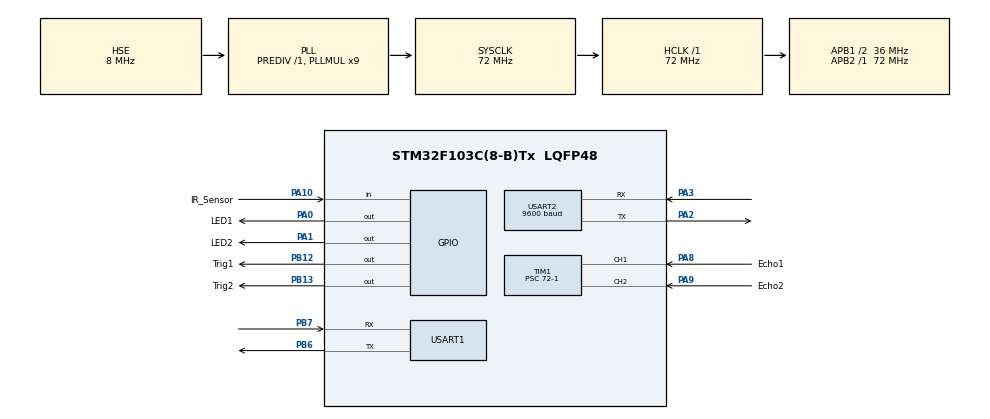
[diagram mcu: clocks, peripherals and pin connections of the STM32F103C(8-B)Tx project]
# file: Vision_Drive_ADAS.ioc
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Mcu.Family=STM32F1
Mcu.Name=STM32F103C(8-B)Tx
Mcu.Package=LQFP48
NVIC.PriorityGroup=NVIC_PRIORITYGROUP_4
NVIC.TIM1_CC_IRQn=true\:0\:0\:false\:false\:true\:true\:true\:true
NVIC.USART1_IRQn=true\:0\:0\:false\:false\:true\:true\:true\:true
PA0-WKUP.GPIO_Label=LED1
PA0-WKUP.GPIO_PuPd=GPIO_PULLDOWN
PA0-WKUP.Signal=GPIO_Output
PA1.GPIO_Label=LED2
PA1.Signal=GPIO_Output
PA10.GPIO_Label=IR_Sensor
PA10.GPIO_PuPd=GPIO_PULLDOWN
PA10.Signal=GPIO_Input
PA13.Mode=Serial_Wire
PA13.Signal=SYS_JTMS-SWDIO
PA14.Mode=Serial_Wire
PA14.Signal=SYS_JTCK-SWCLK
PA2.Mode=Asynchronous
PA2.Signal=USART2_TX
PA3.Mode=Asynchronous
PA3.Signal=USART2_RX
PA8.GPIO_Label=Echo1
PA8.Signal=S_TIM1_CH1
PA9.GPIO_Label=Echo2
PA9.Signal=S_TIM1_CH2
PB12.GPIO_Label=Trig1
PB12.Signal=GPIO_Output
PB13.GPIO_Label=Trig2
PB13.Signal=GPIO_Output
PB6.Mode=Asynchronous
PB6.Signal=USART1_TX
PB7.Mode=Asynchronous
PB7.Signal=USART1_RX
PD0-OSC_IN.Mode=HSE-External-Oscillator
PD0-OSC_IN.Signal=RCC_OSC_IN
PD1-OSC_OUT.Mode=HSE-External-Oscillator
PD1-OSC_OUT.Signal=RCC_OSC_OUT
ProjectManager.HeapSize=0x200
ProjectManager.StackSize=0x400
ProjectManager.TargetToolchain=STM32CubeIDE
RCC.AHBFreq_Value=72000000
RCC.APB1CLKDivider=RCC_HCLK_DIV2
RCC.APB1Freq_Value=36000000
RCC.APB1TimFreq_Value=72000000
RCC.APB2Freq_Value=72000000
RCC.APB2TimFreq_Value=72000000
RCC.HCLKFreq_Value=72000000
RCC.PLLMUL=RCC_PLL_MUL9
RCC.PLLSourceVirtual=RCC_PLLSOURCE_HSE
RCC.SYSCLKFreq_VALUE=72000000
RCC.SYSCLKSource=RCC_SYSCLKSOURCE_PLLCLK
RCC.USBFreq_Value=72000000
SH.S_TIM1_CH1.0=TIM1_CH1,Input_Capture1_from_TI1
SH.S_TIM1_CH2.0=TIM1_CH2,Input_Capture2_from_TI2
TIM1.Channel-Input_Capture1_from_TI1=TIM_CHANNEL_1
TIM1.Channel-Input_Capture2_from_TI2=TIM_CHANNEL_2
TIM1.ICFilter_CH1=4
TIM1.Period=0xffff-1
TIM1.Prescaler=72-1
TIM2.Period=0xffff-1
TIM2.Prescaler=72-1
USART1.VirtualMode=VM_ASYNC
USART2.BaudRate=9600
USART2.VirtualMode=VM_ASYNC
VP_TIM2_VS_ClockSourceINT.Mode=Internal
board=custom

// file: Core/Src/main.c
/* USER CODE BEGIN Header */
/**
  ******************************************************************************
  * @file           : main.c
  * @brief          : Main program body
  ******************************************************************************
  * @attention
  *
  * Copyright (c) 2024 STMicroelectronics.
  * All rights reserved.
  *
  * This software is licensed under terms that can be found in the LICENSE file
  * in the root directory of this software component.
  * If no LICENSE file comes with this software, it is provided AS-IS.
  *
  ******************************************************************************
  */
/* USER CODE END Header */
#include "main.h"

/* USER CODE BEGIN Includes */
#include "ESP_DATA_HANDLER.h"
#include "ultrasonic.h"
/* USER CODE END Includes */

TIM_HandleTypeDef htim1;
TIM_HandleTypeDef htim2;

UART_HandleTypeDef huart1;
UART_HandleTypeDef huart2;

void SystemClock_Config(void);
static void MX_GPIO_Init(void);
static void MX_USART1_UART_Init(void);
static void MX_TIM1_Init(void);
static void MX_TIM2_Init(void);
static void MX_USART2_UART_Init(void);

/* USER CODE BEGIN 0 */
uint8_t Data[1];
void HAL_UARTEx_RxEventCallback(UART_HandleTypeDef* huart, uint16_t Size){
	if (huart->Instance == USART1){
		HAL_UART_Transmit(&huart2, Data, Size, 1000);
		if(Data[0] == 'F'){
			HAL_GPIO_WritePin(LED1_GPIO_Port, LED1_Pin, GPIO_PIN_SET);
		}
		if(Data[0] == 'B'){
				HAL_GPIO_WritePin(LED1_GPIO_Port, LED1_Pin, GPIO_PIN_RESET);
			}
		HAL_UARTEx_ReceiveToIdle_IT(&huart1, Data, 1);
	}
	else if (huart->Instance == USART2){
		HAL_UART_Transmit(&huart1, Data, Size, 1000);
		HAL_UARTEx_ReceiveToIdle_IT(&huart2, Data, 1);
	}
	HAL_UARTEx_ReceiveToIdle_IT(huart, Data, 1);

}
//int32_t IC_Val1 = 0;
//uint32_t IC_Val2 = 0;
//uint32_t Difference = 0;
//uint8_t Is_First_Captured = 0;  // is the first value captured ?
//uint8_t Distance  = 0;

// Let's write the callback function

/* USER CODE END 0 */

int main(void)
{

  /* MCU Configuration--------------------------------------------------------*/

  /* Reset of all peripherals, Initializes the Flash interface and the Systick. */
  HAL_Init();

  /* Configure the system clock */
  SystemClock_Config();

  /* Initialize all configured peripherals */
  MX_GPIO_Init();
  MX_USART1_UART_Init();
  MX_TIM1_Init();
  MX_TIM2_Init();
  MX_USART2_UART_Init();
  /* USER CODE BEGIN 2 */
 // ESP_Init("WE_B5CFD00", "FaDl$MoHaMeD$$2024", "192.168.1.7");
  HAL_TIM_IC_Start_IT(&htim1, TIM_CHANNEL_1);
  HAL_TIM_IC_Start_IT(&htim1, TIM_CHANNEL_2);
  HAL_TIM_Base_Start(&htim2);
  HCSR04_Read_ch1();
  HCSR04_Read_ch2();
  HAL_UARTEx_ReceiveToIdle_IT(&huart1, Data, 1);
  HAL_UARTEx_ReceiveToIdle_IT(&huart2, Data, 1);
  /* USER CODE END 2 */

  /* Infinite loop */
  /* USER CODE BEGIN WHILE */
 // HAL_GPIO_WritePin(LED1_GPIO_Port, LED1_Pin, LED_ON);

    /* USER CODE BEGIN 3 */
	  while (1)
	  {
	     float Distance1 = HCSR04_Read_ch1();
	      if (Distance1 > 10)
	      {
	          HAL_GPIO_WritePin(LED1_GPIO_Port, LED1_Pin, GPIO_PIN_SET);
	      }
	      else
	      {
	          HAL_GPIO_WritePin(LED1_GPIO_Port, LED1_Pin, GPIO_PIN_RESET);
	      }

	      float Distance2 = HCSR04_Read_ch2();
	      if (Distance2 > 10)
	      {
	          HAL_GPIO_WritePin(LED2_GPIO_Port, LED2_Pin, GPIO_PIN_SET);
	      }
	      else
	      {
	          HAL_GPIO_WritePin(LED2_GPIO_Port, LED2_Pin, GPIO_PIN_RESET);
	      }

	      HAL_Delay(10); // Add a delay to allow time for sensor readings

	  if(HAL_GPIO_ReadPin(IR_Sensor_GPIO_Port, IR_Sensor_Pin) == GPIO_PIN_RESET){
		//  HAL_GPIO_WritePin(LED1_GPIO_Port, LED1_Pin, GPIO_PIN_SET);
	  }
	  else{

		 // HAL_GPIO_WritePin(LED1_GPIO_Port, LED1_Pin, GPIO_PIN_RESET);
	  }
    /* USER CODE END WHILE */

    /* USER CODE BEGIN 3 */

	  /* USER CODE END WHILE */
  }
  /* USER CODE END 3 */
}

void SystemClock_Config(void)
{
  RCC_OscInitTypeDef RCC_OscInitStruct = {0};
  RCC_ClkInitTypeDef RCC_ClkInitStruct = {0};

  /** Initializes the RCC Oscillators according to the specified parameters
  * in the RCC_OscInitTypeDef structure.
  */
  RCC_OscInitStruct.OscillatorType = RCC_OSCILLATORTYPE_HSE;
  RCC_OscInitStruct.HSEState = RCC_HSE_ON;
  RCC_OscInitStruct.HSEPredivValue = RCC_HSE_PREDIV_DIV1;
  RCC_OscInitStruct.HSIState = RCC_HSI_ON;
  RCC_OscInitStruct.PLL.PLLState = RCC_PLL_ON;
  RCC_OscInitStruct.PLL.PLLSource = RCC_PLLSOURCE_HSE;
  RCC_OscInitStruct.PLL.PLLMUL = RCC_PLL_MUL9;
  if (HAL_RCC_OscConfig(&RCC_OscInitStruct) != HAL_OK)
  {
    Error_Handler();
  }

  /** Initializes the CPU, AHB and APB buses clocks
  */
  RCC_ClkInitStruct.ClockType = RCC_CLOCKTYPE_HCLK|RCC_CLOCKTYPE_SYSCLK
                              |RCC_CLOCKTYPE_PCLK1|RCC_CLOCKTYPE_PCLK2;
  RCC_ClkInitStruct.SYSCLKSource = RCC_SYSCLKSOURCE_PLLCLK;
  RCC_ClkInitStruct.AHBCLKDivider = RCC_SYSCLK_DIV1;
  RCC_ClkInitStruct.APB1CLKDivider = RCC_HCLK_DIV2;
  RCC_ClkInitStruct.APB2CLKDivider = RCC_HCLK_DIV1;

  if (HAL_RCC_ClockConfig(&RCC_ClkInitStruct, FLASH_LATENCY_2) != HAL_OK)
  {
    Error_Handler();
  }
}

static void MX_TIM1_Init(void)
{

  TIM_MasterConfigTypeDef sMasterConfig = {0};
  TIM_IC_InitTypeDef sConfigIC = {0};

  htim1.Instance = TIM1;
  htim1.Init.Prescaler = 72-1;
  htim1.Init.CounterMode = TIM_COUNTERMODE_UP;
  htim1.Init.Period = 0xffff-1;
  htim1.Init.ClockDivision = TIM_CLOCKDIVISION_DIV1;
  htim1.Init.RepetitionCounter = 0;
  htim1.Init.AutoReloadPreload = TIM_AUTORELOAD_PRELOAD_DISABLE;
  if (HAL_TIM_IC_Init(&htim1) != HAL_OK)
  {
    Error_Handler();
  }
  sMasterConfig.MasterOutputTrigger = TIM_TRGO_RESET;
  sMasterConfig.MasterSlaveMode = TIM_MASTERSLAVEMODE_DISABLE;
  if (HAL_TIMEx_MasterConfigSynchronization(&htim1, &sMasterConfig) != HAL_OK)
  {
    Error_Handler();
  }
  sConfigIC.ICPolarity = TIM_INPUTCHANNELPOLARITY_RISING;
  sConfigIC.ICSelection = TIM_ICSELECTION_DIRECTTI;
  sConfigIC.ICPrescaler = TIM_ICPSC_DIV1;
  sConfigIC.ICFilter = 4;
  if (HAL_TIM_IC_ConfigChannel(&htim1, &sConfigIC, TIM_CHANNEL_1) != HAL_OK)
  {
    Error_Handler();
  }
  sConfigIC.ICFilter = 0;
  if (HAL_TIM_IC_ConfigChannel(&htim1, &sConfigIC, TIM_CHANNEL_2) != HAL_OK)
  {
    Error_Handler();
  }

}

static void MX_TIM2_Init(void)
{

  TIM_ClockConfigTypeDef sClockSourceConfig = {0};
  TIM_MasterConfigTypeDef sMasterConfig = {0};

  htim2.Instance = TIM2;
  htim2.Init.Prescaler = 72-1;
  htim2.Init.CounterMode = TIM_COUNTERMODE_UP;
  htim2.Init.Period = 0xffff-1;
  htim2.Init.ClockDivision = TIM_CLOCKDIVISION_DIV1;
  htim2.Init.AutoReloadPreload = TIM_AUTORELOAD_PRELOAD_DISABLE;
  if (HAL_TIM_Base_Init(&htim2) != HAL_OK)
  {
    Error_Handler();
  }
  sClockSourceConfig.ClockSource = TIM_CLOCKSOURCE_INTERNAL;
  if (HAL_TIM_ConfigClockSource(&htim2, &sClockSourceConfig) != HAL_OK)
  {
    Error_Handler();
  }
  sMasterConfig.MasterOutputTrigger = TIM_TRGO_RESET;
  sMasterConfig.MasterSlaveMode = TIM_MASTERSLAVEMODE_DISABLE;
  if (HAL_TIMEx_MasterConfigSynchronization(&htim2, &sMasterConfig) != HAL_OK)
  {
    Error_Handler();
  }

}

static void MX_USART1_UART_Init(void)
{

  huart1.Instance = USART1;
  huart1.Init.BaudRate = 115200;
  huart1.Init.WordLength = UART_WORDLENGTH_8B;
  huart1.Init.StopBits = UART_STOPBITS_1;
  huart1.Init.Parity = UART_PARITY_NONE;
  huart1.Init.Mode = UART_MODE_TX_RX;
  huart1.Init.HwFlowCtl = UART_HWCONTROL_NONE;
  huart1.Init.OverSampling = UART_OVERSAMPLING_16;
  if (HAL_UART_Init(&huart1) != HAL_OK)
  {
    Error_Handler();
  }

}

static void MX_USART2_UART_Init(void)
{

  huart2.Instance = USART2;
  huart2.Init.BaudRate = 9600;
  huart2.Init.WordLength = UART_WORDLENGTH_8B;
  huart2.Init.StopBits = UART_STOPBITS_1;
  huart2.Init.Parity = UART_PARITY_NONE;
  huart2.Init.Mode = UART_MODE_TX_RX;
  huart2.Init.HwFlowCtl = UART_HWCONTROL_NONE;
  huart2.Init.OverSampling = UART_OVERSAMPLING_16;
  if (HAL_UART_Init(&huart2) != HAL_OK)
  {
    Error_Handler();
  }

}

static void MX_GPIO_Init(void)
{
  GPIO_InitTypeDef GPIO_InitStruct = {0};

  /* GPIO Ports Clock Enable */
  __HAL_RCC_GPIOD_CLK_ENABLE();
  __HAL_RCC_GPIOA_CLK_ENABLE();
  __HAL_RCC_GPIOB_CLK_ENABLE();

  /*Configure GPIO pin Output Level */
  HAL_GPIO_WritePin(GPIOA, LED1_Pin|LED2_Pin, GPIO_PIN_RESET);

  /*Configure GPIO pin Output Level */
  HAL_GPIO_WritePin(GPIOB, Trig1_Pin|Trig2_Pin, GPIO_PIN_RESET);

  /*Configure GPIO pin : LED1_Pin */
  GPIO_InitStruct.Pin = LED1_Pin;
  GPIO_InitStruct.Mode = GPIO_MODE_OUTPUT_PP;
  GPIO_InitStruct.Pull = GPIO_PULLDOWN;
  GPIO_InitStruct.Speed = GPIO_SPEED_FREQ_LOW;
  HAL_GPIO_Init(LED1_GPIO_Port, &GPIO_InitStruct);

  /*Configure GPIO pin : LED2_Pin */
  GPIO_InitStruct.Pin = LED2_Pin;
  GPIO_InitStruct.Mode = GPIO_MODE_OUTPUT_PP;
  GPIO_InitStruct.Pull = GPIO_NOPULL;
  GPIO_InitStruct.Speed = GPIO_SPEED_FREQ_LOW;
  HAL_GPIO_Init(LED2_GPIO_Port, &GPIO_InitStruct);

  /*Configure GPIO pins : Trig1_Pin Trig2_Pin */
  GPIO_InitStruct.Pin = Trig1_Pin|Trig2_Pin;
  GPIO_InitStruct.Mode = GPIO_MODE_OUTPUT_PP;
  GPIO_InitStruct.Pull = GPIO_NOPULL;
  GPIO_InitStruct.Speed = GPIO_SPEED_FREQ_LOW;
  HAL_GPIO_Init(GPIOB, &GPIO_InitStruct);

  /*Configure GPIO pin : IR_Sensor_Pin */
  GPIO_InitStruct.Pin = IR_Sensor_Pin;
  GPIO_InitStruct.Mode = GPIO_MODE_INPUT;
  GPIO_InitStruct.Pull = GPIO_PULLDOWN;
  HAL_GPIO_Init(IR_Sensor_GPIO_Port, &GPIO_InitStruct);

}

void Error_Handler(void)
{
  __disable_irq();
  while (1)
  {
  }
}
